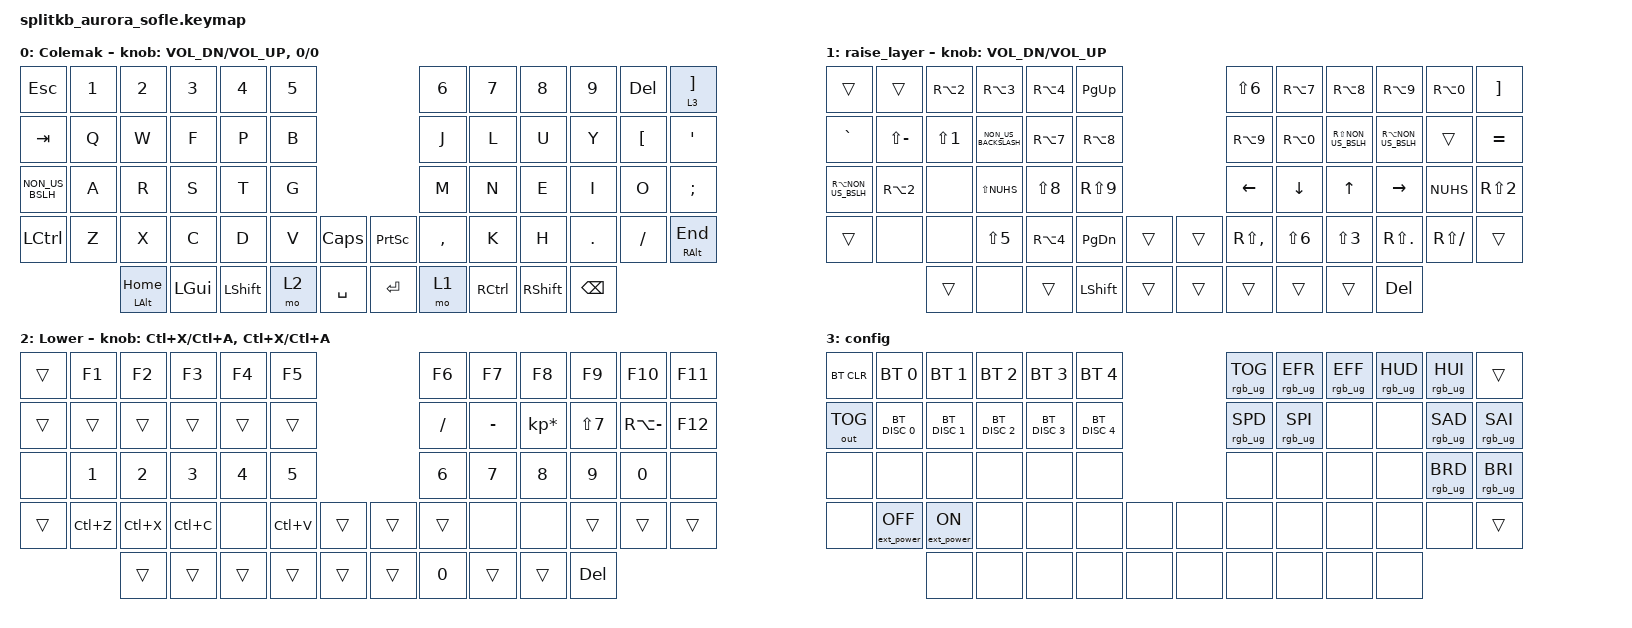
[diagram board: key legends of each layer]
/*
 * Copyright (c) 2023 The ZMK Contributors
 * SPDX-License-Identifier: MIT
 */

#include <behaviors.dtsi>
#include <dt-bindings/zmk/bt.h>
#include <dt-bindings/zmk/ext_power.h>
#include <dt-bindings/zmk/keys.h>
#include <dt-bindings/zmk/outputs.h>
#include <dt-bindings/zmk/rgb.h>

// Layer Definitions

#define COLEMAK 0
#define QWERTY 1
#define LOWER 2
#define RAISE 3
#define NUMPAD 4
#define RGB 3

// Uncomment this block if using RGB

&led_strip {
    // chain-length = <6>;
    // chain-length = <35>; // Uncomment if using both per-key and underglow LEDs

    chain-length = <29>; // Uncomment if using only per-key LEDs.
};

&mt { tapping-term-ms = <200>; };

/ {
    macros {
        rgb_mo: rgb_mo {
            compatible = "zmk,behavior-macro";
            #binding-cells = <0>;
            bindings = <&macro_press>, <&none>;

            label = "RGB_MO";
        };
    };

    keymap {
        compatible = "zmk,keymap";

        Colemak {
            bindings = <
&kp ESC           &kp N1  &kp N2             &kp N3    &kp N4          &kp N5                                &kp N6     &kp N7             &kp N8           &kp N9         &kp DELETE        &lt 3 RBKT
&kp TAB           &kp Q   &kp W              &kp F     &kp P           &kp B                                 &kp J      &kp L              &kp U            &kp Y          &kp LEFT_BRACKET  &kp APOS
&kp NON_US_BSLH   &kp A   &kp R              &kp S     &kp T           &kp G                                 &kp M      &kp N              &kp E            &kp I          &kp O             &kp SEMICOLON
&kp LEFT_CONTROL  &kp Z   &kp X              &kp C     &kp D           &kp V   &kp CAPS     &kp PRINTSCREEN  &kp COMMA  &kp K              &kp H            &kp DOT        &kp SLASH         &mt RIGHT_ALT END
                          &mt LEFT_ALT HOME  &kp LGUI  &kp LEFT_SHIFT  &mo 2   &kp SPACE    &kp RET          &mo 1      &kp RIGHT_CONTROL  &kp RIGHT_SHIFT  &kp BACKSPACE
            >;

            sensor-bindings =
                <&inc_dec_kp C_VOL_DN C_VOL_UP>,
                <&inc_dec_kp 0 0>;

            label = "Colemak";
        };

        raise_layer {
            // ------------------------------------------------------------------------------------------------------------
            // |       |     |     |      |      |      |                   |      |       |       |      |       |       |
            // |   `   |  1  |  2  |  3   |  4   |  5   |                   |  6   |   7   |   8   |  9   |   0   |       |
            // |   F1  |  F2 |  F3 |  F4  |  F5  |  F6  |                   |      |   <-  |   v   |  ^   |  ->   |       |
            // |   F7  |  F8 |  F9 |  F10 |  F11 |  F12 |        |  |       |  +   |   -   |   =   |  [   |   ]   |   \   |
            //               |     |      |      |      |        |  |       |      |       |       |      |

            bindings = <
&trans               &trans            &kp RA(NUMBER_2)  &kp RA(NUMBER_3)      &kp RA(NUMBER_4)  &kp PAGE_UP                         &kp LS(NUMBER_6)  &kp RA(NUMBER_7)  &kp RA(NUMBER_8)     &kp RA(NUMBER_9)     &kp RA(NUMBER_0)  &kp RBKT
&kp GRAVE            &kp LS(MINUS)     &kp LS(NUMBER_1)  &kp NON_US_BACKSLASH  &kp RA(N7)        &kp RA(N8)                          &kp RA(N9)        &kp RA(N0)        &kp RS(NON_US_BSLH)  &kp RA(NON_US_BSLH)  &trans            &kp EQUAL
&kp RA(NON_US_BSLH)  &kp RA(NUMBER_2)  &none             &kp LS(NUHS)          &kp LS(NUMBER_8)  &kp RS(NUMBER_9)                    &kp LEFT_ARROW    &kp DOWN_ARROW    &kp UP_ARROW         &kp RIGHT_ARROW      &kp NUHS          &kp RS(N2)
&trans               &none             &none             &kp LS(N5)            &kp RA(NUMBER_4)  &kp PAGE_DOWN     &trans    &trans  &kp RS(COMMA)     &kp LS(NUMBER_6)  &kp LS(NUMBER_3)     &kp RS(PERIOD)       &kp RS(SLASH)     &trans
                                       &trans            &none                 &trans            &kp LEFT_SHIFT    &trans    &trans  &trans            &trans            &trans               &kp DEL
            >;

            sensor-bindings = <&inc_dec_kp C_VOL_DN C_VOL_UP>;
        };

        Lower {
            bindings = <
&trans  &kp F1        &kp F2        &kp F3        &kp F4        &kp F5                       &kp F6        &kp F7        &kp F8           &kp F9            &kp F10        &kp F11
&trans  &trans        &trans        &trans        &trans        &trans                       &kp SLASH     &kp MINUS     &kp KP_MULTIPLY  &kp LS(NUMBER_7)  &kp RA(MINUS)  &kp F12
&none   &kp NUMBER_1  &kp NUMBER_2  &kp NUMBER_3  &kp NUMBER_4  &kp N5                       &kp NUMBER_6  &kp NUMBER_7  &kp NUMBER_8     &kp NUMBER_9      &kp NUMBER_0   &none
&trans  &kp LC(Z)     &kp LC(X)     &kp LC(C)     &none         &kp LC(V)  &trans    &trans  &trans        &none         &none            &trans            &trans         &trans
                      &trans        &trans        &trans        &trans     &trans    &trans  &kp N0        &trans        &trans           &kp DELETE
            >;

            sensor-bindings =
                <&inc_dec_kp LC(X) LC(A)>,
                <&inc_dec_kp LC(X) LC(A)>;
        };

        config {
            bindings = <
&bt BT_CLR    &bt BT_SEL 0       &bt BT_SEL 1      &bt BT_SEL 2   &bt BT_SEL 3   &bt BT_SEL 4                   &rgb_ug RGB_TOG  &rgb_ug RGB_EFR  &rgb_ug RGB_EFF  &rgb_ug RGB_HUD  &rgb_ug RGB_HUI  &trans
&out OUT_TOG  &bt BT_DISC 0      &bt BT_DISC 1     &bt BT_DISC 2  &bt BT_DISC 3  &bt BT_DISC 4                  &rgb_ug RGB_SPD  &rgb_ug RGB_SPI  &none            &none            &rgb_ug RGB_SAD  &rgb_ug RGB_SAI
&none         &none              &none             &none          &none          &none                          &none            &none            &none            &none            &rgb_ug RGB_BRD  &rgb_ug RGB_BRI
&none         &ext_power EP_OFF  &ext_power EP_ON  &none          &none          &none          &none    &none  &none            &none            &none            &none            &none            &trans
                                 &none             &none          &none          &none          &none    &none  &none            &none            &none            &none
            >;

            label = "config";
        };
    };
};
